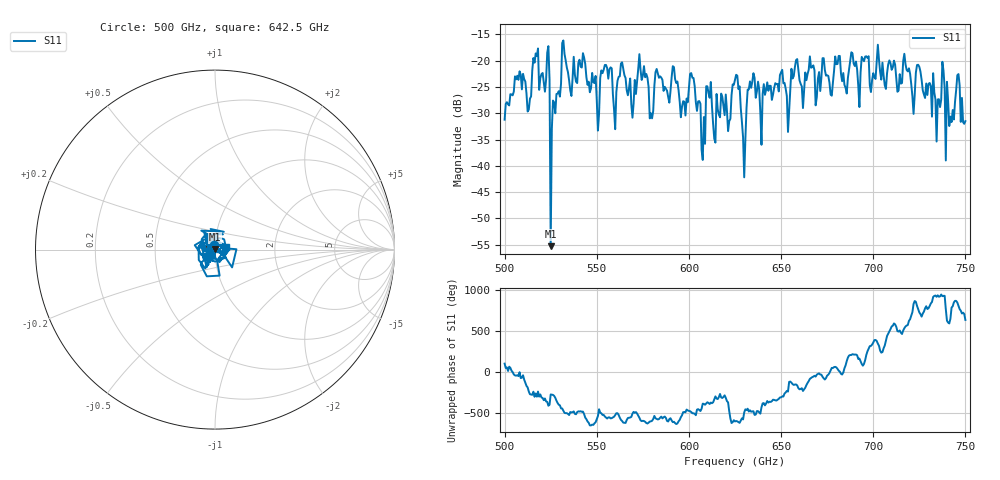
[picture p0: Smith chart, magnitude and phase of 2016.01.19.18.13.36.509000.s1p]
!Created with skrf (http://scikit-rf.org).
# GHz S RI R 50.0
!freq ReS11 ImS11
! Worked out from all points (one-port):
!   401 points, 500 GHz to 750 GHz, reference 50 ohm
!   lowest |S11| = -55.3 dB at 525 GHz (marker M1), VSWR 1.00, Z = 50 + j0.172 ohm
!   |S11| at or under -10 dB: start of sweep to end of sweep
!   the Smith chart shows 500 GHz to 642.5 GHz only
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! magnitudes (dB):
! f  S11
! 500 GHz  -31.2
! 506.9 GHz  -22.9
! 513.1 GHz  -29.3
! 516.9 GHz  -18.6
! 523.1 GHz  -18.5
! 525 GHz  -55.3
! 526.2 GHz  -27.6
! 531.2 GHz  -16.6
! 550 GHz  -27.5
! 562.5 GHz  -23.0
! 570 GHz  -28.1
! 574.4 GHz  -23.7
! 579.4 GHz  -30.0
! 583.1 GHz  -22.4
! 593.8 GHz  -24.0
! 601.9 GHz  -23.2
! 607.5 GHz  -38.9
! 610.6 GHz  -26.2
! 614.4 GHz  -35.6
! 625 GHz  -23.7
! 630 GHz  -42.2
! 634.4 GHz  -24.0
! 656.2 GHz  -23.4
! 687.5 GHz  -20.1
! 718.8 GHz  -22.0
! 742.5 GHz  -31.7
! 745.6 GHz  -22.8
! 750 GHz  -31.5
